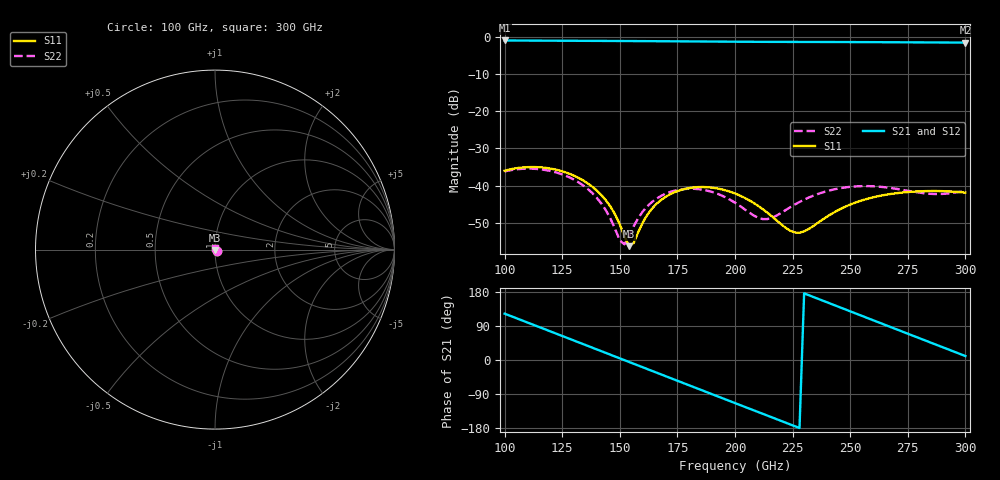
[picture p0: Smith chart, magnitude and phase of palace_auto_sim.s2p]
#  GHZ S DB R 50
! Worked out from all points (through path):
!   101 points, 100 GHz to 300 GHz, reference 50 ohm
!   highest |S21| = -0.92 dB at 100 GHz (marker M1); lowest = -1.5 dB at 300 GHz (marker M2)
!   group delay of S21, straight-line fit = 6.55 ps
!   lowest |S11| = -56.3 dB at 154 GHz (marker M3), VSWR 1.00, Z = 50 - j0.15 ohm
!   |S11| at or under -10 dB: start of sweep to end of sweep
!   |S22| runs from -55.8 to -35.4 dB; largest |S21 - S12| = 1.6e-13
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100  -36.01 -40.4  -0.92 122.3  -0.92 122.3  -36.20 -39.6
116  -35.11 -76.0  -0.97 84.6  -0.97 84.6  -35.65 -74.5
124  -35.98 -94.8  -0.99 65.8  -0.99 65.8  -36.77 -92.7
134  -38.58 -118.2  -1.01 42.2  -1.01 42.2  -39.91 -114.9
142  -42.55 -134.9  -1.04 23.3  -1.04 23.3  -44.83 -128.6
150  -50.45 -138.1  -1.06 4.4  -1.06 4.4  -54.75 -104.8
152  -53.63 -127.5  -1.07 -0.4  -1.07 -0.4  -55.82 -73.4
154  -56.32 -101.0  -1.07 -5.1  -1.07 -5.1  -53.73 -47.9
156  -55.49 -66.9  -1.08 -9.8  -1.08 -9.8  -51.01 -36.9
160  -49.89 -43.1  -1.10 -19.3  -1.10 -19.3  -46.96 -34.1
168  -43.83 -51.1  -1.12 -38.2  -1.12 -38.2  -42.75 -48.3
184  -40.41 -93.1  -1.19 -76.0  -1.19 -76.0  -40.95 -93.2
200  -42.14 -143.4  -1.25 -113.7  -1.25 -113.7  -44.61 -154.1
214  -47.28 162.7  -1.29 -146.6  -1.29 -146.6  -49.02 107.7
226  -52.63 82.6  -1.31 -174.8  -1.31 -174.8  -45.10 31.5
234  -50.89 18.1  -1.32 166.3  -1.32 166.3  -42.72 0.3
242  -47.58 -25.1  -1.33 147.4  -1.33 147.4  -41.17 -26.8
252  -44.64 -67.2  -1.35 123.8  -1.35 123.8  -40.23 -60.3
268  -42.22 -131.0  -1.40 85.9  -1.40 85.9  -40.68 -120.6
282  -41.50 171.5  -1.44 52.9  -1.44 52.9  -42.06 172.4
292  -41.54 129.1  -1.47 29.3  -1.47 29.3  -42.16 116.8
300  -41.91 94.3  -1.49 10.5  -1.49 10.5  -41.39 73.9
